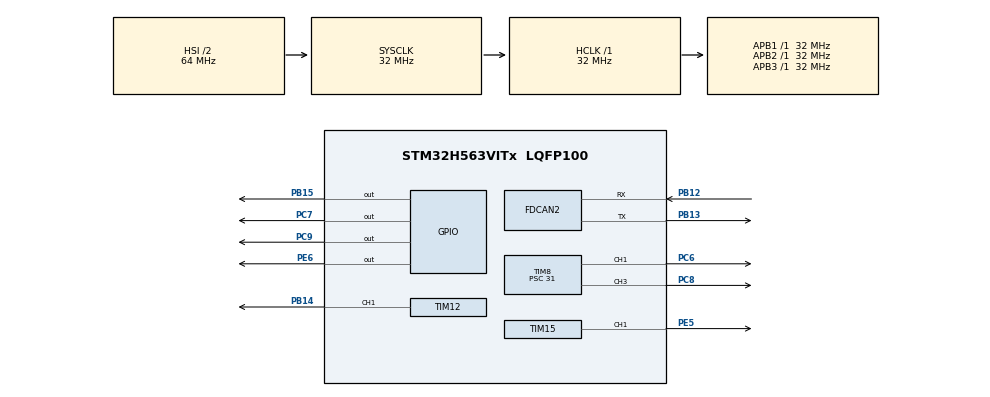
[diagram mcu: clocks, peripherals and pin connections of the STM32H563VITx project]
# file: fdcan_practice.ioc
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BOOTPATH.BootPathName=LEGACY
BOOTPATH.UserSelectedBootPath=LEGACY
CORTEX_M33_NS.userName=CORTEX_M33
FDCAN2.CalculateBaudRateNominal=1000000
FDCAN2.CalculateTimeBitNominal=1000
FDCAN2.CalculateTimeQuantumNominal=111.11111111111111
FDCAN2.FrameFormat=FDCAN_FRAME_FD_NO_BRS
FDCAN2.NominalPrescaler=2
FDCAN2.NominalTimeSeg1=6
FDCAN2.NominalTimeSeg2=2
FDCAN2.StdFiltersNbr=1
Mcu.Family=STM32H5
Mcu.Name=STM32H563VITx
Mcu.Package=LQFP100
NVIC.FDCAN2_IT0_IRQn=true\:0\:0\:false\:false\:true\:true\:true\:true
NVIC.FDCAN2_IT1_IRQn=true\:0\:0\:false\:false\:true\:true\:true\:true
NVIC.PriorityGroup=NVIC_PRIORITYGROUP_4
PB12.Mode=FDCAN_Activate
PB12.Signal=FDCAN2_RX
PB13.Mode=FDCAN_Activate
PB13.Signal=FDCAN2_TX
PB14.Signal=S_TIM12_CH1
PB15.Signal=GPIO_Output
PC6.Signal=S_TIM8_CH1
PC7.Signal=GPIO_Output
PC8.Signal=S_TIM8_CH3
PC9.Signal=GPIO_Output
PE5.Signal=S_TIM15_CH1
PE6.Signal=GPIO_Output
ProjectManager.HeapSize=0x200
ProjectManager.StackSize=0x400
ProjectManager.TargetToolchain=STM32CubeIDE
RCC.ADCFreq_Value=32000000
RCC.AHBFreq_Value=32000000
RCC.APB1Freq_Value=32000000
RCC.APB1TimFreq_Value=32000000
RCC.APB2Freq_Value=32000000
RCC.APB2TimFreq_Value=32000000
RCC.APB3Freq_Value=32000000
RCC.CSI_VALUE=4000000
RCC.CortexFreq_Value=32000000
RCC.EPOD_VALUE=4000000
RCC.FDCANClockSelection=RCC_FDCANCLKSOURCE_PLL1Q
RCC.HCLKFreq_Value=32000000
RCC.HSE_VALUE=25000000
RCC.HSI48_VALUE=48000000
RCC.HSI_VALUE=64000000
RCC.LSE_VALUE=32768
RCC.LSIRC_VALUE=32000
RCC.PLL1Q=8
RCC.PLL2FRACN=0
RCC.PLL3FRACN=0
RCC.PLLFRACN=0
RCC.PLLN=36
RCC.SYSCLKFreq_VALUE=32000000
RCC.USBFreq_Value=48000000
RCC.VCOOutputFreq_Value=144000000
SH.S_TIM12_CH1.0=TIM12_CH1,PWM Generation1 CH1
SH.S_TIM15_CH1.0=TIM15_CH1,PWM Generation1 CH1
SH.S_TIM8_CH1.0=TIM8_CH1,PWM Generation1 CH1
SH.S_TIM8_CH3.0=TIM8_CH3,PWM Generation3 CH3
TIM12.Channel-PWM\ Generation1\ CH1=TIM_CHANNEL_1
TIM12.PeriodNoDither=999
TIM12.Prescaler=31
TIM15.Channel-PWM\ Generation1\ CH1=TIM_CHANNEL_1
TIM15.PeriodNoDither=999
TIM15.Prescaler=31
TIM8.Channel-PWM\ Generation1\ CH1=TIM_CHANNEL_1
TIM8.Channel-PWM\ Generation3\ CH3=TIM_CHANNEL_3
TIM8.PeriodNoDither=999
TIM8.Prescaler=31
VP_BOOTPATH_VS_BOOTPATH.Mode=BP_Activate
VP_CORTEX_M33_NS_VS_Hclk.Mode=Hclk_Mode
VP_MEMORYMAP_VS_MEMORYMAP.Mode=CurAppReg
VP_PWR_VS_LPOM.Mode=PowerOptimisation
VP_PWR_VS_SECSignals.Mode=Security/Privilege
board=custom

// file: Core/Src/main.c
/* USER CODE BEGIN Header */
/**
  ******************************************************************************
  * @file           : main.c
  * @brief          : Main program body
  ******************************************************************************
  * @attention
  *
  * Copyright (c) 2026 STMicroelectronics.
  * All rights reserved.
  *
  * This software is licensed under terms that can be found in the LICENSE file
  * in the root directory of this software component.
  * If no LICENSE file comes with this software, it is provided AS-IS.
  *
  ******************************************************************************
  */
/* USER CODE END Header */
#include "main.h"

/* USER CODE BEGIN Includes */
#include "DS4_data_struct.h"
/* USER CODE END Includes */

FDCAN_HandleTypeDef hfdcan2;

TIM_HandleTypeDef htim8;
TIM_HandleTypeDef htim12;
TIM_HandleTypeDef htim15;

/* USER CODE BEGIN PV */
DS4_Controller_Typedef ds4;
FDCAN_TxHeaderTypeDef TxHeader;
uint8_t TxData[64] = {0};
FDCAN_RxHeaderTypeDef RxHeader;
uint8_t RxData[64] = {0};

	    int a = 2;
		int b = 1;

		//変数を定義
//double L = 380;
double L = 0;

int x = 0; //= ds4.l_stick_x;
int y = 0; //= ds4.l_stick_y;
int w = 0; //= ds4.r_stick_x;

int nrowA = 4;
int ncolA = 1;
int nrowB = 4;
int ncolB = 3;

int ncolC = 1;

//行列B
double matB[4][3] = { };

//行列c
double matC[3][1] = { };

//結果を格納する行列するA
double matA[4][4] = { };

/* USER CODE END PV */

void SystemClock_Config(void);
static void MX_GPIO_Init(void);
static void MX_FDCAN2_Init(void);
static void MX_TIM8_Init(void);
static void MX_TIM12_Init(void);
static void MX_TIM15_Init(void);
/* USER CODE BEGIN PFP */
void HAL_FDCAN_RxFifo0Callback(FDCAN_HandleTypeDef *hfdcan, uint32_t RxFifo0ITs) {

	/*if(hfdcan == &hfdcan1) {
		// TODO: FDCAN1の受信
	} else */ if(hfdcan == &hfdcan2) {
		if((RxFifo0ITs & FDCAN_IT_RX_FIFO0_NEW_MESSAGE) != RESET)
		{
			// Retrieve Rx messages from RX FIFO0
			if (HAL_FDCAN_GetRxMessage(hfdcan, FDCAN_RX_FIFO0, &RxHeader, (uint8_t *)&ds4) != HAL_OK)
			{
				Error_Handler();
			}
		}
	} /* else {
		// TODO: 例外処理
	}*/
}
/* USER CODE END PFP */

int main(void)
{

  /* MCU Configuration--------------------------------------------------------*/

  /* Reset of all peripherals, Initializes the Flash interface and the Systick. */
  HAL_Init();

  /* Configure the system clock */
  SystemClock_Config();

  /* Initialize all configured peripherals */
  MX_GPIO_Init();
  MX_FDCAN2_Init();
  MX_TIM8_Init();
  MX_TIM12_Init();
  MX_TIM15_Init();
  /* USER CODE BEGIN 2 */
  HAL_TIM_PWM_Start(&htim8, TIM_CHANNEL_1);
  HAL_TIM_PWM_Start(&htim8, TIM_CHANNEL_3);
  HAL_TIM_PWM_Start(&htim12, TIM_CHANNEL_1);
  HAL_TIM_PWM_Start(&htim15, TIM_CHANNEL_1);
  TxData[0] = 1;
      TxData[7] = 1;
      TxData[15] = 1;
      TxData[31] = 1;
      TxData[63] = 1;

      FDCAN_FilterTypeDef sFilterConfig;
      	// Configure Rx filter
      	sFilterConfig.IdType = FDCAN_STANDARD_ID;
      	sFilterConfig.FilterIndex = 0;
      	sFilterConfig.FilterType = FDCAN_FILTER_MASK;
      	sFilterConfig.FilterConfig = FDCAN_FILTER_TO_RXFIFO0;
      	sFilterConfig.FilterID1 = 0x000;
      	sFilterConfig.FilterID2 = 0x000;
      	if (HAL_FDCAN_ConfigFilter(&hfdcan2, &sFilterConfig) != HAL_OK)
      	{
      		Error_Handler();
      	}
      	if (HAL_FDCAN_ConfigGlobalFilter(&hfdcan2, FDCAN_REJECT, FDCAN_REJECT, FDCAN_REJECT_REMOTE, FDCAN_REJECT_REMOTE))
      	{
      		Error_Handler();
      	}
      	// Enable Rx CallBack
      	if (HAL_FDCAN_ActivateNotification(&hfdcan2, FDCAN_IT_RX_FIFO0_NEW_MESSAGE, 0) != HAL_OK)
      	{
      		Error_Handler();
      	}
      	// Start the FDCAN module
      	if (HAL_FDCAN_Start(&hfdcan2) != HAL_OK)
      	{
      		Error_Handler();
      	}

      	        matB[0][0]=-0.707;
      			matB[0][1]=0.707;
				matB[0][2]=L;
				matB[1][0]=0.707;
				matB[1][1]=0.707;
				matB[1][2]=L;
				matB[2][0]=0.707;
				matB[2][1]=-0.707;
				matB[2][2]=L;
				matB[3][0]=-0.707;
				matB[3][1]=-0.707;
				matB[3][2]=L;

  /* USER CODE END 2 */

  /* Infinite loop */
  /* USER CODE BEGIN WHILE */
  while (1){

	  TxHeader.IdType = FDCAN_STANDARD_ID;
	  		TxHeader.TxFrameType = FDCAN_DATA_FRAME;
	  		TxHeader.DataLength = FDCAN_DLC_BYTES_64;
	  		TxHeader.ErrorStateIndicator = FDCAN_ESI_PASSIVE;
	  		TxHeader.BitRateSwitch = FDCAN_BRS_OFF;
	  		TxHeader.FDFormat = FDCAN_FD_CAN;
	  		TxHeader.TxEventFifoControl = FDCAN_NO_TX_EVENTS;
	  		TxHeader.MessageMarker = 0;
	  	  	TxHeader.Identifier = 0x7FF;

	  	  	if(HAL_FDCAN_GetTxFifoFreeLevel(&hfdcan2)>=1){
	  			if (HAL_FDCAN_AddMessageToTxFifoQ(&hfdcan2, &TxHeader, TxData) != HAL_OK)
	  			{
	  				/* Transmission request Error */
	  				Error_Handler();
	  			}
	  	  	}

	  	  x = ds4.l_stick_x;
	  	  y = ds4.l_stick_y;
	  	  w = ds4.r_stick_x;

	  	                matC[0][0]=a*x;
	  					matC[1][0]=b*y;
	  					matC[2][0]=b*w;

	  	  	//行列積　A=B*C
	  	  	 for (int i=0; i < nrowB; i++) {
	  	  		for (int k=0;k<ncolC;k++){
	  	  			matA[i][k] =0.0;

	  	  			for (int j =0 ; j < ncolB ;j++) {
	  	  				matA[i][k]+= matB[i][j]*matC[j][k];
	  	  			}
	  	  		}
	  	  	}

	  	  	for (int i=0; i < nrowB ; i++) {
	  	  		for (int k=0; k < ncolC ; k++) {
	  	  	}
	  	  	}

	  	  	HAL_Delay(100);
     if (matA[0][0]>0)
     	 {__HAL_TIM_SET_COMPARE(&htim8, TIM_CHANNEL_1, matA[0][0]);
         HAL_GPIO_WritePin(GPIOC, GPIO_PIN_7, GPIO_PIN_SET);}
     else if (matA[0][0]<0)
     	 {__HAL_TIM_SET_COMPARE(&htim8, TIM_CHANNEL_1, fabs(matA[0][0]));
              HAL_GPIO_WritePin(GPIOC, GPIO_PIN_7, GPIO_PIN_RESET);}
     else
     {__HAL_TIM_SET_COMPARE(&htim8, TIM_CHANNEL_1, 0);
              HAL_GPIO_WritePin(GPIOC, GPIO_PIN_7, GPIO_PIN_SET);}

     if (matA[1][0]>0)
          	 {__HAL_TIM_SET_COMPARE(&htim8, TIM_CHANNEL_3, matA[1][0]);
              HAL_GPIO_WritePin(GPIOC, GPIO_PIN_9, GPIO_PIN_SET);}
          else if (matA[1][0]<0)
          	 {__HAL_TIM_SET_COMPARE(&htim8, TIM_CHANNEL_3, fabs(matA[1][0]));
                   HAL_GPIO_WritePin(GPIOC, GPIO_PIN_9, GPIO_PIN_RESET);}
          else
          {__HAL_TIM_SET_COMPARE(&htim8, TIM_CHANNEL_3, 0);
                   HAL_GPIO_WritePin(GPIOC, GPIO_PIN_9, GPIO_PIN_SET);}

     if (matA[2][0]>0)
          	 {__HAL_TIM_SET_COMPARE(&htim12, TIM_CHANNEL_1, matA[2][0]);
              HAL_GPIO_WritePin(GPIOB, GPIO_PIN_15, GPIO_PIN_SET);}
          else if (matA[2][0]<0)
          	 {__HAL_TIM_SET_COMPARE(&htim12, TIM_CHANNEL_1, fabs(matA[2][0]));
                   HAL_GPIO_WritePin(GPIOB, GPIO_PIN_15, GPIO_PIN_RESET);}
          else
          {__HAL_TIM_SET_COMPARE(&htim12, TIM_CHANNEL_1, 0);
                   HAL_GPIO_WritePin(GPIOB, GPIO_PIN_15, GPIO_PIN_SET);}

     if (matA[3][0]>0)
          	 {__HAL_TIM_SET_COMPARE(&htim15, TIM_CHANNEL_1, matA[3][0]);
              HAL_GPIO_WritePin(GPIOE, GPIO_PIN_6, GPIO_PIN_SET);}
          else if (matA[3][0]<0)
          	 {__HAL_TIM_SET_COMPARE(&htim15, TIM_CHANNEL_1, fabs(matA[3][0]));
                   HAL_GPIO_WritePin(GPIOE, GPIO_PIN_6, GPIO_PIN_RESET);}
          else
          {__HAL_TIM_SET_COMPARE(&htim15, TIM_CHANNEL_1, 0);
                   HAL_GPIO_WritePin(GPIOE, GPIO_PIN_6, GPIO_PIN_SET);}

    /* USER CODE END WHILE */

  }
}

void SystemClock_Config(void)
{
  RCC_OscInitTypeDef RCC_OscInitStruct = {0};
  RCC_ClkInitTypeDef RCC_ClkInitStruct = {0};

  /** Configure the main internal regulator output voltage
  */
  __HAL_PWR_VOLTAGESCALING_CONFIG(PWR_REGULATOR_VOLTAGE_SCALE3);

  while(!__HAL_PWR_GET_FLAG(PWR_FLAG_VOSRDY)) {}

  /** Initializes the RCC Oscillators according to the specified parameters
  * in the RCC_OscInitTypeDef structure.
  */
  RCC_OscInitStruct.OscillatorType = RCC_OSCILLATORTYPE_HSI|RCC_OSCILLATORTYPE_CSI;
  RCC_OscInitStruct.HSIState = RCC_HSI_ON;
  RCC_OscInitStruct.HSIDiv = RCC_HSI_DIV2;
  RCC_OscInitStruct.HSICalibrationValue = RCC_HSICALIBRATION_DEFAULT;
  RCC_OscInitStruct.CSIState = RCC_CSI_ON;
  RCC_OscInitStruct.CSICalibrationValue = RCC_CSICALIBRATION_DEFAULT;
  RCC_OscInitStruct.PLL.PLLState = RCC_PLL_ON;
  RCC_OscInitStruct.PLL.PLLSource = RCC_PLL1_SOURCE_CSI;
  RCC_OscInitStruct.PLL.PLLM = 1;
  RCC_OscInitStruct.PLL.PLLN = 36;
  RCC_OscInitStruct.PLL.PLLP = 2;
  RCC_OscInitStruct.PLL.PLLQ = 8;
  RCC_OscInitStruct.PLL.PLLR = 2;
  RCC_OscInitStruct.PLL.PLLRGE = RCC_PLL1_VCIRANGE_2;
  RCC_OscInitStruct.PLL.PLLVCOSEL = RCC_PLL1_VCORANGE_WIDE;
  RCC_OscInitStruct.PLL.PLLFRACN = 0;
  if (HAL_RCC_OscConfig(&RCC_OscInitStruct) != HAL_OK)
  {
    Error_Handler();
  }

  /** Initializes the CPU, AHB and APB buses clocks
  */
  RCC_ClkInitStruct.ClockType = RCC_CLOCKTYPE_HCLK|RCC_CLOCKTYPE_SYSCLK
                              |RCC_CLOCKTYPE_PCLK1|RCC_CLOCKTYPE_PCLK2
                              |RCC_CLOCKTYPE_PCLK3;
  RCC_ClkInitStruct.SYSCLKSource = RCC_SYSCLKSOURCE_HSI;
  RCC_ClkInitStruct.AHBCLKDivider = RCC_SYSCLK_DIV1;
  RCC_ClkInitStruct.APB1CLKDivider = RCC_HCLK_DIV1;
  RCC_ClkInitStruct.APB2CLKDivider = RCC_HCLK_DIV1;
  RCC_ClkInitStruct.APB3CLKDivider = RCC_HCLK_DIV1;

  if (HAL_RCC_ClockConfig(&RCC_ClkInitStruct, FLASH_LATENCY_1) != HAL_OK)
  {
    Error_Handler();
  }

  /** Configure the programming delay
  */
  __HAL_FLASH_SET_PROGRAM_DELAY(FLASH_PROGRAMMING_DELAY_0);
}

static void MX_FDCAN2_Init(void)
{

  hfdcan2.Instance = FDCAN2;
  hfdcan2.Init.ClockDivider = FDCAN_CLOCK_DIV1;
  hfdcan2.Init.FrameFormat = FDCAN_FRAME_FD_NO_BRS;
  hfdcan2.Init.Mode = FDCAN_MODE_NORMAL;
  hfdcan2.Init.AutoRetransmission = DISABLE;
  hfdcan2.Init.TransmitPause = DISABLE;
  hfdcan2.Init.ProtocolException = DISABLE;
  hfdcan2.Init.NominalPrescaler = 2;
  hfdcan2.Init.NominalSyncJumpWidth = 1;
  hfdcan2.Init.NominalTimeSeg1 = 6;
  hfdcan2.Init.NominalTimeSeg2 = 2;
  hfdcan2.Init.DataPrescaler = 1;
  hfdcan2.Init.DataSyncJumpWidth = 1;
  hfdcan2.Init.DataTimeSeg1 = 1;
  hfdcan2.Init.DataTimeSeg2 = 1;
  hfdcan2.Init.StdFiltersNbr = 1;
  hfdcan2.Init.ExtFiltersNbr = 0;
  hfdcan2.Init.TxFifoQueueMode = FDCAN_TX_FIFO_OPERATION;
  if (HAL_FDCAN_Init(&hfdcan2) != HAL_OK)
  {
    Error_Handler();
  }

}

static void MX_TIM8_Init(void)
{

  TIM_MasterConfigTypeDef sMasterConfig = {0};
  TIM_OC_InitTypeDef sConfigOC = {0};
  TIM_BreakDeadTimeConfigTypeDef sBreakDeadTimeConfig = {0};

  htim8.Instance = TIM8;
  htim8.Init.Prescaler = 31;
  htim8.Init.CounterMode = TIM_COUNTERMODE_UP;
  htim8.Init.Period = 999;
  htim8.Init.ClockDivision = TIM_CLOCKDIVISION_DIV1;
  htim8.Init.RepetitionCounter = 0;
  htim8.Init.AutoReloadPreload = TIM_AUTORELOAD_PRELOAD_DISABLE;
  if (HAL_TIM_PWM_Init(&htim8) != HAL_OK)
  {
    Error_Handler();
  }
  sMasterConfig.MasterOutputTrigger = TIM_TRGO_RESET;
  sMasterConfig.MasterOutputTrigger2 = TIM_TRGO2_RESET;
  sMasterConfig.MasterSlaveMode = TIM_MASTERSLAVEMODE_DISABLE;
  if (HAL_TIMEx_MasterConfigSynchronization(&htim8, &sMasterConfig) != HAL_OK)
  {
    Error_Handler();
  }
  sConfigOC.OCMode = TIM_OCMODE_PWM1;
  sConfigOC.Pulse = 0;
  sConfigOC.OCPolarity = TIM_OCPOLARITY_HIGH;
  sConfigOC.OCNPolarity = TIM_OCNPOLARITY_HIGH;
  sConfigOC.OCFastMode = TIM_OCFAST_DISABLE;
  sConfigOC.OCIdleState = TIM_OCIDLESTATE_RESET;
  sConfigOC.OCNIdleState = TIM_OCNIDLESTATE_RESET;
  if (HAL_TIM_PWM_ConfigChannel(&htim8, &sConfigOC, TIM_CHANNEL_1) != HAL_OK)
  {
    Error_Handler();
  }
  if (HAL_TIM_PWM_ConfigChannel(&htim8, &sConfigOC, TIM_CHANNEL_3) != HAL_OK)
  {
    Error_Handler();
  }
  sBreakDeadTimeConfig.OffStateRunMode = TIM_OSSR_DISABLE;
  sBreakDeadTimeConfig.OffStateIDLEMode = TIM_OSSI_DISABLE;
  sBreakDeadTimeConfig.LockLevel = TIM_LOCKLEVEL_OFF;
  sBreakDeadTimeConfig.DeadTime = 0;
  sBreakDeadTimeConfig.BreakState = TIM_BREAK_DISABLE;
  sBreakDeadTimeConfig.BreakPolarity = TIM_BREAKPOLARITY_HIGH;
  sBreakDeadTimeConfig.BreakFilter = 0;
  sBreakDeadTimeConfig.BreakAFMode = TIM_BREAK_AFMODE_INPUT;
  sBreakDeadTimeConfig.Break2State = TIM_BREAK2_DISABLE;
  sBreakDeadTimeConfig.Break2Polarity = TIM_BREAK2POLARITY_HIGH;
  sBreakDeadTimeConfig.Break2Filter = 0;
  sBreakDeadTimeConfig.Break2AFMode = TIM_BREAK_AFMODE_INPUT;
  sBreakDeadTimeConfig.AutomaticOutput = TIM_AUTOMATICOUTPUT_DISABLE;
  if (HAL_TIMEx_ConfigBreakDeadTime(&htim8, &sBreakDeadTimeConfig) != HAL_OK)
  {
    Error_Handler();
  }
  HAL_TIM_MspPostInit(&htim8);

}

static void MX_TIM12_Init(void)
{

  TIM_MasterConfigTypeDef sMasterConfig = {0};
  TIM_OC_InitTypeDef sConfigOC = {0};

  htim12.Instance = TIM12;
  htim12.Init.Prescaler = 31;
  htim12.Init.CounterMode = TIM_COUNTERMODE_UP;
  htim12.Init.Period = 999;
  htim12.Init.ClockDivision = TIM_CLOCKDIVISION_DIV1;
  htim12.Init.AutoReloadPreload = TIM_AUTORELOAD_PRELOAD_DISABLE;
  if (HAL_TIM_PWM_Init(&htim12) != HAL_OK)
  {
    Error_Handler();
  }
  sMasterConfig.MasterOutputTrigger = TIM_TRGO_RESET;
  sMasterConfig.MasterSlaveMode = TIM_MASTERSLAVEMODE_DISABLE;
  if (HAL_TIMEx_MasterConfigSynchronization(&htim12, &sMasterConfig) != HAL_OK)
  {
    Error_Handler();
  }
  sConfigOC.OCMode = TIM_OCMODE_PWM1;
  sConfigOC.Pulse = 0;
  sConfigOC.OCPolarity = TIM_OCPOLARITY_HIGH;
  sConfigOC.OCFastMode = TIM_OCFAST_DISABLE;
  if (HAL_TIM_PWM_ConfigChannel(&htim12, &sConfigOC, TIM_CHANNEL_1) != HAL_OK)
  {
    Error_Handler();
  }
  HAL_TIM_MspPostInit(&htim12);

}

static void MX_TIM15_Init(void)
{

  TIM_MasterConfigTypeDef sMasterConfig = {0};
  TIM_OC_InitTypeDef sConfigOC = {0};
  TIM_BreakDeadTimeConfigTypeDef sBreakDeadTimeConfig = {0};

  htim15.Instance = TIM15;
  htim15.Init.Prescaler = 31;
  htim15.Init.CounterMode = TIM_COUNTERMODE_UP;
  htim15.Init.Period = 999;
  htim15.Init.ClockDivision = TIM_CLOCKDIVISION_DIV1;
  htim15.Init.RepetitionCounter = 0;
  htim15.Init.AutoReloadPreload = TIM_AUTORELOAD_PRELOAD_DISABLE;
  if (HAL_TIM_PWM_Init(&htim15) != HAL_OK)
  {
    Error_Handler();
  }
  sMasterConfig.MasterOutputTrigger = TIM_TRGO_RESET;
  sMasterConfig.MasterSlaveMode = TIM_MASTERSLAVEMODE_DISABLE;
  if (HAL_TIMEx_MasterConfigSynchronization(&htim15, &sMasterConfig) != HAL_OK)
  {
    Error_Handler();
  }
  sConfigOC.OCMode = TIM_OCMODE_PWM1;
  sConfigOC.Pulse = 0;
  sConfigOC.OCPolarity = TIM_OCPOLARITY_HIGH;
  sConfigOC.OCNPolarity = TIM_OCNPOLARITY_HIGH;
  sConfigOC.OCFastMode = TIM_OCFAST_DISABLE;
  sConfigOC.OCIdleState = TIM_OCIDLESTATE_RESET;
  sConfigOC.OCNIdleState = TIM_OCNIDLESTATE_RESET;
  if (HAL_TIM_PWM_ConfigChannel(&htim15, &sConfigOC, TIM_CHANNEL_1) != HAL_OK)
  {
    Error_Handler();
  }
  sBreakDeadTimeConfig.OffStateRunMode = TIM_OSSR_DISABLE;
  sBreakDeadTimeConfig.OffStateIDLEMode = TIM_OSSI_DISABLE;
  sBreakDeadTimeConfig.LockLevel = TIM_LOCKLEVEL_OFF;
  sBreakDeadTimeConfig.DeadTime = 0;
  sBreakDeadTimeConfig.BreakState = TIM_BREAK_DISABLE;
  sBreakDeadTimeConfig.BreakPolarity = TIM_BREAKPOLARITY_HIGH;
  sBreakDeadTimeConfig.BreakFilter = 0;
  sBreakDeadTimeConfig.AutomaticOutput = TIM_AUTOMATICOUTPUT_DISABLE;
  if (HAL_TIMEx_ConfigBreakDeadTime(&htim15, &sBreakDeadTimeConfig) != HAL_OK)
  {
    Error_Handler();
  }
  HAL_TIM_MspPostInit(&htim15);

}

static void MX_GPIO_Init(void)
{
  GPIO_InitTypeDef GPIO_InitStruct = {0};

  /* GPIO Ports Clock Enable */
  __HAL_RCC_GPIOE_CLK_ENABLE();
  __HAL_RCC_GPIOB_CLK_ENABLE();
  __HAL_RCC_GPIOC_CLK_ENABLE();

  /*Configure GPIO pin Output Level */
  HAL_GPIO_WritePin(GPIOE, GPIO_PIN_6, GPIO_PIN_RESET);

  /*Configure GPIO pin Output Level */
  HAL_GPIO_WritePin(GPIOB, GPIO_PIN_15, GPIO_PIN_RESET);

  /*Configure GPIO pin Output Level */
  HAL_GPIO_WritePin(GPIOC, GPIO_PIN_7|GPIO_PIN_9, GPIO_PIN_RESET);

  /*Configure GPIO pin : PE6 */
  GPIO_InitStruct.Pin = GPIO_PIN_6;
  GPIO_InitStruct.Mode = GPIO_MODE_OUTPUT_PP;
  GPIO_InitStruct.Pull = GPIO_NOPULL;
  GPIO_InitStruct.Speed = GPIO_SPEED_FREQ_LOW;
  HAL_GPIO_Init(GPIOE, &GPIO_InitStruct);

  /*Configure GPIO pin : PB15 */
  GPIO_InitStruct.Pin = GPIO_PIN_15;
  GPIO_InitStruct.Mode = GPIO_MODE_OUTPUT_PP;
  GPIO_InitStruct.Pull = GPIO_NOPULL;
  GPIO_InitStruct.Speed = GPIO_SPEED_FREQ_LOW;
  HAL_GPIO_Init(GPIOB, &GPIO_InitStruct);

  /*Configure GPIO pins : PC7 PC9 */
  GPIO_InitStruct.Pin = GPIO_PIN_7|GPIO_PIN_9;
  GPIO_InitStruct.Mode = GPIO_MODE_OUTPUT_PP;
  GPIO_InitStruct.Pull = GPIO_NOPULL;
  GPIO_InitStruct.Speed = GPIO_SPEED_FREQ_LOW;
  HAL_GPIO_Init(GPIOC, &GPIO_InitStruct);

}

void Error_Handler(void)
{
  __disable_irq();
  while (1)
  {
  }
}
